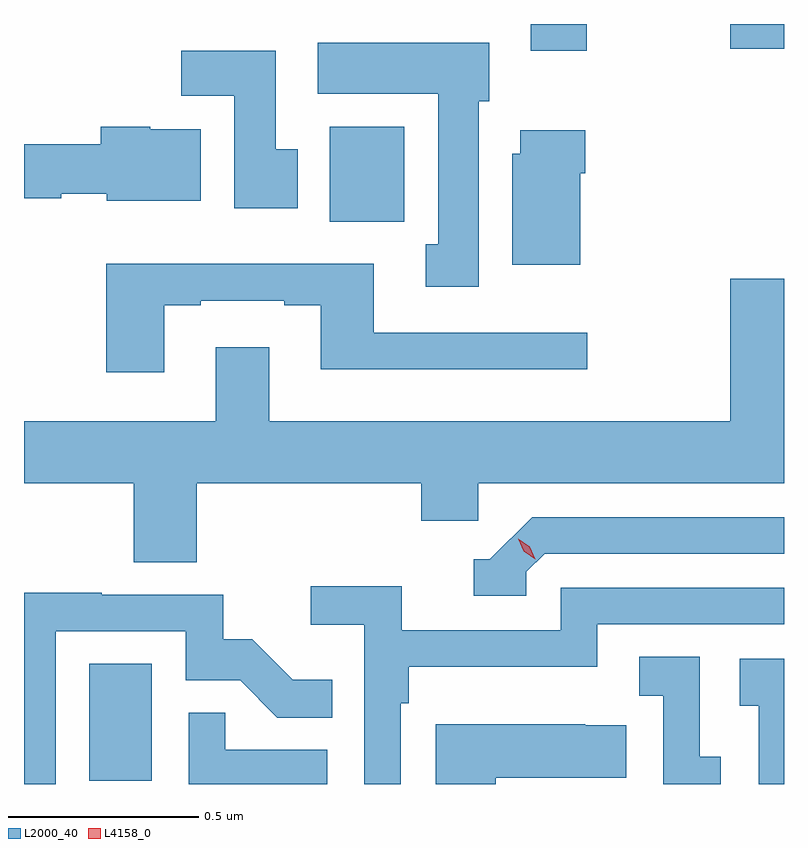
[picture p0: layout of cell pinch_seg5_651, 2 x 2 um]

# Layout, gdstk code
import gdstk
lib = gdstk.Library(unit=1e-6, precision=1e-09)
def R(c, l, rs):  # rectangles x0, y0, x1, y1
    for r in rs: c.add(gdstk.rectangle(r[:2], r[2:], *l))
def P(c, l, *ps):  # polygons
    for p in ps: c.add(gdstk.Polygon(p, *l))
L2000_40 = (2000, 40)
L4158_0 = (4158, 0)

pinch_seg5_651 = lib.new_cell('pinch_seg5_651')
R(pinch_seg5_651, L2000_40, [(1026.458,859.974,1026.622,860.281), (1027.091,861.444,1027.287,861.694), (1027.619,861.894,1027.767,861.965), (1028.144,861.9,1028.286,861.965), (1026.503,861.964,1026.659,861.965)])
P(pinch_seg5_651, L2000_40, [(1027.483,861.762),(1027.51,861.762),(1027.51,861.916),(1027.059,861.916),(1027.059,861.782),(1027.376,861.782),(1027.376,861.385),(1027.343,861.385),(1027.343,861.273),(1027.483,861.273)],
  [(1027.006,861.636),(1026.949,861.636),(1026.949,861.895),(1026.7,861.895),(1026.7,861.776),(1026.839,861.776),(1026.839,861.48),(1027.006,861.48)],
  [(1026.751,861.688),(1026.618,861.688),(1026.618,861.694),(1026.488,861.694),(1026.488,861.648),(1026.286,861.648),(1026.286,861.506),(1026.384,861.506),(1026.384,861.518),(1026.504,861.518),(1026.504,861.5),(1026.751,861.5)],
  [(1027.75,861.572),(1027.763,861.572),(1027.763,861.685),(1027.592,861.685),(1027.592,861.624),(1027.571,861.624),(1027.571,861.332),(1027.75,861.332)],
  [(1026.655,861.225),(1026.751,861.225),(1026.751,861.237),(1026.971,861.237),(1026.971,861.225),(1027.067,861.225),(1027.067,861.056),(1027.768,861.056),(1027.768,861.153),(1027.207,861.153),(1027.207,861.334),(1026.503,861.334),(1026.503,861.048),(1026.655,861.048)],
  [(1026.74,860.756),(1027.331,860.756),(1027.331,860.658),(1027.482,860.658),(1027.482,860.756),(1028.286,860.756),(1028.286,861.295),(1028.144,861.295),(1028.144,860.92),(1026.931,860.92),(1026.931,861.115),(1026.791,861.115),(1026.791,860.92),(1026.286,860.92),(1026.286,860.756),(1026.575,860.756),(1026.575,860.548),(1026.74,860.548)],
  [(1027.608,860.523),(1027.656,860.571),(1028.286,860.571),(1028.286,860.667),(1027.623,860.667),(1027.512,860.556),(1027.469,860.556),(1027.469,860.46),(1027.608,860.46)],
  [(1027.278,860.177),(1027.298,860.177),(1027.298,860.273),(1027.794,860.273),(1027.794,860.385),(1028.286,860.385),(1028.286,860.481),(1027.698,860.481),(1027.698,860.37),(1027.28,860.37),(1027.28,860.486),(1027.041,860.486),(1027.041,860.384),(1027.182,860.384),(1027.182,859.965),(1027.278,859.965)],
  [(1026.369,860.367),(1026.711,860.367),(1026.711,860.238),(1026.855,860.238),(1026.953,860.14),(1027.097,860.14),(1027.097,860.239),(1026.993,860.239),(1026.886,860.346),(1026.81,860.346),(1026.81,860.463),(1026.491,860.463),(1026.491,860.468),(1026.286,860.468),(1026.286,859.965),(1026.369,859.965)],
  [(1028.119,860.037),(1028.064,860.037),(1028.064,860.3),(1027.905,860.3),(1027.905,860.197),(1027.968,860.197),(1027.968,859.965),(1028.119,859.965)],
  [(1028.286,860.295),(1028.169,860.295),(1028.169,860.171),(1028.22,860.171),(1028.22,859.965),(1028.286,859.965)],
  [(1027.084,860.055),(1026.815,860.055),(1026.815,860.153),(1026.72,860.153),(1026.72,859.965),(1027.084,859.965)],
  [(1027.528,859.982),(1027.871,859.982),(1027.871,860.119),(1027.763,860.119),(1027.763,860.122),(1027.37,860.122),(1027.37,859.965),(1027.528,859.965)])
P(pinch_seg5_651, L4158_0, [(1027.631,860.556),(1027.601,860.577),(1027.586,860.61),(1027.586,860.61),(1027.586,860.61),(1027.617,860.59),(1027.632,860.556),(1027.632,860.556)])

lib.write_gds('pinch_seg5_651.gds')
